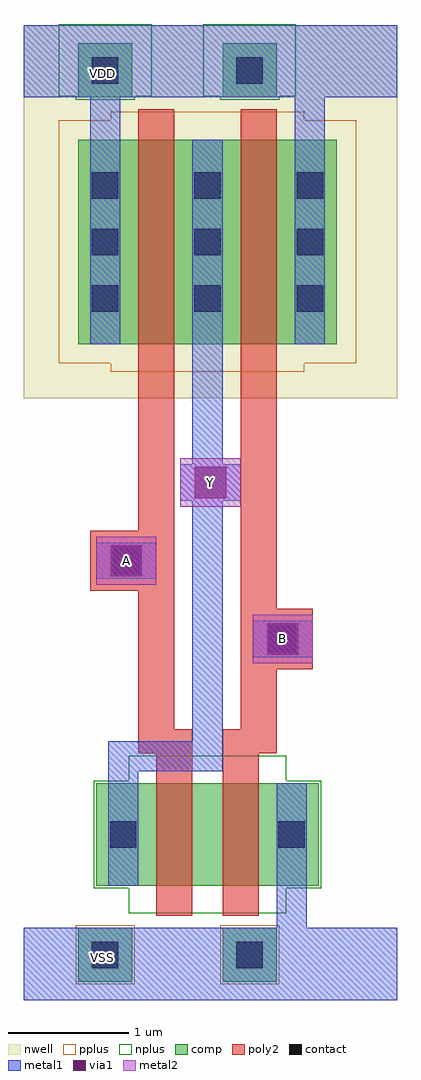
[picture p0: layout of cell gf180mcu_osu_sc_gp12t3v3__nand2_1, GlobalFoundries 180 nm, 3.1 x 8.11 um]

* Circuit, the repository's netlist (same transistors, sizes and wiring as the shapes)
* Copyright 2022 Google LLC
*
* Licensed under the Apache License, Version 2.0 (the "License");
* you may not use this file except in compliance with the License.
* You may obtain a copy of the License at
*
*      http://www.apache.org/licenses/LICENSE-2.0
*
* Unless required by applicable law or agreed to in writing, software
* distributed under the License is distributed on an "AS IS" BASIS,
* WITHOUT WARRANTIES OR CONDITIONS OF ANY KIND, either express or implied.
* See the License for the specific language governing permissions and
* limitations under the License.

.inc "/import/yukari1/lrburle/OSU_180/char/techfiles/design.hspice"
.lib "/import/yukari1/lrburle/OSU_180/char/techfiles/sm141064.hspice" typical

.GLOBAL VDD
.GLOBAL VSS

.option scale=0.05u

.subckt gf180mcu_osu_sc_gp12t3v3__nand2_1 A B Y
X0 VDD B Y VDD pmos_3p3 w=34 l=6
X1 Y A VDD VDD pmos_3p3 w=34 l=6
X2 a_28_19 A Y VSS nmos_3p3 w=17 l=6
X3 VSS B a_28_19 VSS nmos_3p3 w=17 l=6
.ends

** hspice subcircuit dictionary

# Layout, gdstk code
import gdstk
lib = gdstk.Library(unit=1e-6, precision=1e-09)
def R(c, l, rs):  # rectangles x0, y0, x1, y1
    for r in rs: c.add(gdstk.rectangle(r[:2], r[2:], *l))
def A(c, l, x, y, w, h, nx, ny, dx, dy):  # array of equal rectangles
    R(c, l, [(x+i*dx, y+j*dy, x+i*dx+w, y+j*dy+h) for i in range(nx) for j in range(ny)])
nwell = (21, 0)
comp = (22, 0)
poly2 = (30, 0)
pplus = (31, 0)
nplus = (32, 0)
contact = (33, 0)
metal1 = (34, 0)
via1 = (35, 0)
metal2 = (36, 0)

gf180mcu_osu_sc_gp12t3v3 = lib.new_cell('gf180mcu_osu_sc_gp12t3v3__nand2_1')
R(gf180mcu_osu_sc_gp12t3v3, nwell, [(0,5,3.1,8.1)])
R(gf180mcu_osu_sc_gp12t3v3, comp, [(0.45,0.15,0.9,0.6), (1.65,0.15,2.1,0.6), (0.6,0.95,2.45,1.8), (0.45,5.45,2.6,7.15), (0.45,7.5,0.9,7.95), (1.65,7.5,2.1,7.95)])
R(gf180mcu_osu_sc_gp12t3v3, poly2, [(1.1,0.7,1.4,2.05), (1.65,0.7,1.95,2.05), (0.95,2.05,1.4,2.25), (1.65,2.05,2.1,2.25), (0.95,2.25,1.25,3.4), (1.8,2.25,2.1,2.75), (1.8,2.75,2.4,3.25), (1.8,3.25,2.1,7.4), (0.55,3.4,1.25,3.9), (0.95,3.9,1.25,7.4)])
R(gf180mcu_osu_sc_gp12t3v3, pplus, [(0.43,0.13,0.92,0.62), (1.63,0.13,2.12,0.62), (0.72,5.22,2.33,5.29), (0.29,5.29,2.76,7.31), (0.72,7.31,2.33,7.38)])
R(gf180mcu_osu_sc_gp12t3v3, nplus, [(0.87,0.72,2.18,0.93), (0.58,0.93,2.47,1.82), (0.87,1.82,2.18,2.03), (0.43,7.48,0.92,7.51), (1.63,7.48,2.12,7.51), (0.29,7.51,1.06,8.11), (1.49,7.51,2.26,8.11)])
A(gf180mcu_osu_sc_gp12t3v3, contact, 0.565, 5.72, 0.22, 0.22, 3, 3, 0.85, 0.47)
R(gf180mcu_osu_sc_gp12t3v3, contact, [(0.565,0.265,0.785,0.485), (1.765,0.265,1.985,0.485), (0.715,1.265,0.935,1.485), (2.115,1.265,2.335,1.485), (2.04,2.89,2.26,3.11), (0.74,3.54,0.96,3.76), (0.565,7.615,0.785,7.835), (1.765,7.615,1.985,7.835)])
R(gf180mcu_osu_sc_gp12t3v3, metal1, [(0,0,3.1,0.6), (2.1,0.6,2.35,1.8), (0.7,0.95,0.95,1.9), (0.7,1.9,1.65,2.15), (1.4,2.15,1.65,4.15), (1.9,2.85,2.4,3.15), (0.6,3.5,1.1,3.8), (1.3,4.15,1.8,4.45), (1.4,4.45,1.65,7.15), (0.55,5.45,0.8,7.5), (2.25,5.45,2.5,7.5), (0,7.5,3.1,8.1)])
R(gf180mcu_osu_sc_gp12t3v3, via1, [(2.02,2.87,2.28,3.13), (0.72,3.52,0.98,3.78), (1.42,4.17,1.68,4.43)])
R(gf180mcu_osu_sc_gp12t3v3, metal2, [(1.9,2.8,2.4,3.2), (0.6,3.45,1.1,3.85), (1.3,4.1,1.8,4.5)])
gf180mcu_osu_sc_gp12t3v3.add(gdstk.Label('VDD', (0.65,7.7), layer=34, texttype=0))
gf180mcu_osu_sc_gp12t3v3.add(gdstk.Label('VSS', (0.65,0.35), layer=34, texttype=0))
gf180mcu_osu_sc_gp12t3v3.add(gdstk.Label('A', (0.85,3.65), layer=36, texttype=10))
gf180mcu_osu_sc_gp12t3v3.add(gdstk.Label('B', (2.15,3), layer=36, texttype=10))
gf180mcu_osu_sc_gp12t3v3.add(gdstk.Label('Y', (1.55,4.3), layer=36, texttype=10))

lib.write_gds('gf180mcu_osu_sc_gp12t3v3__nand2_1.gds')
